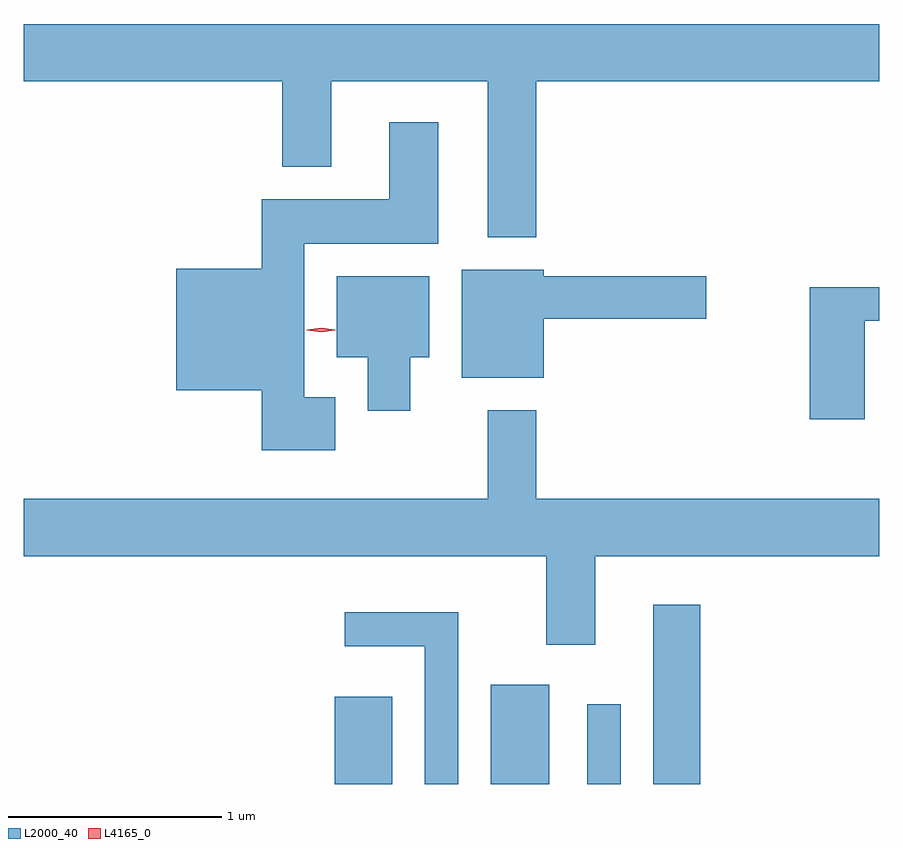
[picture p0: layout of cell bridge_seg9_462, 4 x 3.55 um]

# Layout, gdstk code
import gdstk
lib = gdstk.Library(unit=1e-6, precision=1e-09)
def R(c, l, rs):  # rectangles x0, y0, x1, y1
    for r in rs: c.add(gdstk.rectangle(r[:2], r[2:], *l))
def P(c, l, *ps):  # polygons
    for p in ps: c.add(gdstk.Polygon(p, *l))
L2000_40 = (2000, 40)
L4165_0 = (4165, 0)

bridge_seg9_462 = lib.new_cell('bridge_seg9_462')
R(bridge_seg9_462, L2000_40, [(469.086,1990.751,469.354,1991.159), (469.816,1990.751,470.089,1991.214), (470.266,1990.751,470.424,1991.123), (470.576,1990.751,470.794,1991.589)])
P(bridge_seg9_462, L2000_40, [(470.029,1994.036),(471.632,1994.036),(471.632,1994.304),(467.632,1994.304),(467.632,1994.036),(468.841,1994.036),(468.841,1993.636),(469.069,1993.636),(469.069,1994.036),(469.801,1994.036),(469.801,1993.306),(470.029,1993.306)],
  [(469.089,1992.559),(468.944,1992.559),(468.944,1993.276),(469.569,1993.276),(469.569,1993.844),(469.341,1993.844),(469.341,1993.484),(468.746,1993.484),(468.746,1993.159),(468.346,1993.159),(468.346,1992.591),(468.746,1992.591),(468.746,1992.311),(469.089,1992.311)],
  [(470.064,1992.926),(470.824,1992.926),(470.824,1993.124),(470.064,1993.124),(470.064,1993.154),(469.681,1993.154),(469.681,1992.651),(470.064,1992.651)],
  [(469.439,1992.746),(469.529,1992.746),(469.529,1993.124),(469.096,1993.124),(469.096,1992.746),(469.241,1992.746),(469.241,1992.496),(469.439,1992.496)],
  [(471.564,1992.916),(471.632,1992.916),(471.632,1993.074),(471.306,1993.074),(471.306,1992.456),(471.564,1992.456)],
  [(470.304,1991.816),(471.632,1991.816),(471.632,1992.084),(470.029,1992.084),(470.029,1992.499),(469.801,1992.499),(469.801,1992.084),(467.632,1992.084),(467.632,1991.816),(470.076,1991.816),(470.076,1991.401),(470.304,1991.401)],
  [(469.664,1991.554),(469.133,1991.554),(469.133,1991.396),(469.506,1991.396),(469.506,1990.751),(469.664,1990.751)])
P(bridge_seg9_462, L4165_0, [(469.022,1992.863),(468.956,1992.873),(468.956,1992.873),(468.956,1992.874),(469.022,1992.883),(469.088,1992.874),(469.088,1992.873),(469.088,1992.873)])

lib.write_gds('bridge_seg9_462.gds')
